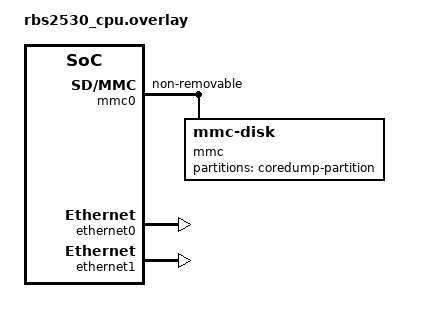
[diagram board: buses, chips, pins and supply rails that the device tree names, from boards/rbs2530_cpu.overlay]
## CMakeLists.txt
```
#
# Copyright (c) 2026 SYSTech Co.
# SPDX-License-Identifier: Apache-2.0
#

cmake_minimum_required(VERSION 3.20.0)
find_package(Zephyr REQUIRED HINTS $ENV{ZEPHYR_BASE})
project(coredump_test)

target_sources(app PRIVATE src/main.c)
```

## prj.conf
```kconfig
#
# Copyright (c) 2026 SYSTech Co.
# SPDX-License-Identifier: Apache-2.0
#
# Configuration for Coredump with eMMC backend and network transfer
# Board-specific configurations should be in boards/<board>.conf

# ==============================================================================
# Kernel Configuration
# ==============================================================================
CONFIG_MAIN_STACK_SIZE=8192
CONFIG_SYSTEM_WORKQUEUE_STACK_SIZE=8192
CONFIG_HEAP_MEM_POOL_SIZE=262144

# Kernel features
CONFIG_POSIX_API=y
CONFIG_ENTROPY_GENERATOR=y
CONFIG_TEST_RANDOM_GENERATOR=y
CONFIG_INIT_STACKS=y

# ==============================================================================
# Coredump Configuration
# ==============================================================================
CONFIG_DEBUG_COREDUMP=y
CONFIG_DEBUG_COREDUMP_MEMORY_DUMP_LINKER_RAM=y
CONFIG_DEBUG_COREDUMP_THREADS_METADATA=y
CONFIG_DEBUG_COREDUMP_SHELL=y

# Coredump backend: eMMC storage
CONFIG_DEBUG_COREDUMP_BACKEND_EMMC=y
CONFIG_DEBUG_COREDUMP_EMMC_CHUNK_SIZE=512
CONFIG_DEBUG_COREDUMP_EMMC_DEVICE_NAME="MMC"

# Alternative memory dump modes (disabled)
# CONFIG_DEBUG_COREDUMP_MEMORY_DUMP_MIN=y
# CONFIG_DEBUG_COREDUMP_MEMORY_DUMP_THREADS=y

# ==============================================================================
# Storage Configuration
# ==============================================================================
# eMMC/Disk support
CONFIG_DISK_ACCESS=y
CONFIG_DISK_DRIVER_MMC=y
CONFIG_MMC_STACK=y
CONFIG_MMC_VOLUME_NAME="MMC"

# Disk Tools - For coredump transfer and diagnostics
CONFIG_DISK_TOOLS=y
CONFIG_DISK_TOOLS_BUFFER_SIZE=16384
CONFIG_DISK_TOOLS_NETWORK=y
CONFIG_DISK_TOOLS_NET_PORT=9999
CONFIG_DISK_TOOLS_NET_STACK_SIZE=4096
CONFIG_DISK_TOOLS_NET_THREAD_PRIORITY=5
CONFIG_DISK_TOOLS_NET_TIMEOUT_MS=30000

# ==============================================================================
# Logging Configuration
# ==============================================================================
CONFIG_LOG=y
CONFIG_LOG_MODE_IMMEDIATE=y
CONFIG_LOG_DEFAULT_LEVEL=3
CONFIG_LOG_BACKEND_SHOW_COLOR=n
CONFIG_PRINTK=y

# Network logging
CONFIG_NET_LOG=y
CONFIG_NET_STATISTICS=y

# Network debug logging (commented out by default for performance)
# CONFIG_NET_SOCKETS_LOG_LEVEL_DBG=y
# CONFIG_NET_CONN_LOG_LEVEL_DBG=y
# CONFIG_NET_CONTEXT_LOG_LEVEL_DBG=y
# CONFIG_NET_TCP_LOG_LEVEL_DBG=y
# CONFIG_NET_IF_LOG_LEVEL_DBG=y
# CONFIG_NET_L2_ETHERNET_LOG_LEVEL_DBG=y
# CONFIG_ETHERNET_LOG_LEVEL_DBG=y
# CONFIG_NET_PKT_LOG_LEVEL_DBG=y
# CONFIG_NET_BUF_LOG=y
# CONFIG_NET_BUF_LOG_LEVEL_DBG=y

# ==============================================================================
# Shell Configuration
# ==============================================================================
CONFIG_SHELL=y
CONFIG_SHELL_BACKEND_SERIAL=y
CONFIG_NET_SHELL=y

# ==============================================================================
# Networking Configuration
# ==============================================================================
# Core networking
CONFIG_NETWORKING=y
CONFIG_NET_TCP=y
CONFIG_NET_UDP=y
CONFIG_NET_IPV4=y
CONFIG_NET_IPV6=y
CONFIG_NET_SOCKETS=y
CONFIG_NET_CONNECTION_MANAGER=y

# Network buffers (basic configuration, can be overridden in board config)
CONFIG_NET_PKT_RX_COUNT=16
CONFIG_NET_PKT_TX_COUNT=16
CONFIG_NET_BUF_RX_COUNT=80
CONFIG_NET_BUF_TX_COUNT=80
CONFIG_NET_BUF_DATA_SIZE=1536
CONFIG_NET_CONTEXT_NET_PKT_POOL=y

# IP configuration
CONFIG_NET_IF_UNICAST_IPV6_ADDR_COUNT=3
CONFIG_NET_IF_MCAST_IPV6_ADDR_COUNT=4
CONFIG_NET_IF_MAX_IPV4_COUNT=3
CONFIG_NET_IF_MAX_IPV6_COUNT=3
CONFIG_NET_MAX_CONTEXTS=10

# ==============================================================================
# Ethernet and Link Layer
# ==============================================================================
CONFIG_NET_L2_ETHERNET=y
CONFIG_NET_L2_ETHERNET_MGMT=y
CONFIG_NET_ICMPV4_ACCEPT_BROADCAST=y

# ==============================================================================
# TCP/IP Stack Configuration
# ==============================================================================
# TCP optimization for large transfers
CONFIG_NET_TCP_MAX_RECV_WINDOW_SIZE=65535
CONFIG_NET_TCP_MAX_SEND_WINDOW_SIZE=65535
CONFIG_NET_TCP_WORKQ_STACK_SIZE=4096

# ==============================================================================
# Socket Service Configuration
# ==============================================================================
# Socket service handles poll events for disk_tools and zperf
CONFIG_NET_SOCKETS_SERVICE=y
CONFIG_NET_SOCKETS_SERVICE_STACK_SIZE=4096
CONFIG_NET_SOCKETS_SERVICE_THREAD_PRIO=40
CONFIG_NET_SOCKETS_POLL_MAX=128

# ==============================================================================
# Network Performance Tools
# ==============================================================================
# zperf - Network throughput testing
CONFIG_NET_ZPERF=y
CONFIG_NET_ZPERF_MAX_PACKET_SIZE=2048
CONFIG_ZPERF_WORK_Q_STACK_SIZE=4096
```

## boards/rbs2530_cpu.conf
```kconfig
#
# Copyright (c) 2026 SYSTech Co.
# SPDX-License-Identifier: Apache-2.0
#
# Board-specific configuration for RBS2530_CPU
# This file contains board-specific optimizations and hardware configurations

# ==============================================================================
# Board-Specific Kernel Configuration
# ==============================================================================
CONFIG_SYSTEM_WORKQUEUE_PRIORITY=2
CONFIG_NUM_PREEMPT_PRIORITIES=16
CONFIG_MAX_THREAD_BYTES=3

# ==============================================================================
# Ethernet Driver Configuration (Board-Specific)
# ==============================================================================
# FMQL Ethernet controller
CONFIG_ETH_FMQL=y
CONFIG_MDIO=y

# Initialization priorities for this board
CONFIG_SERIAL_INIT_PRIORITY=50
CONFIG_ETH_INIT_PRIORITY=80

# ==============================================================================
# Memory Configuration (Board/Architecture-Specific)
# ==============================================================================
# Non-cacheable memory region for DMA
CONFIG_NOCACHE_MEMORY=y

# ==============================================================================
# Network Buffer Optimization (Board Memory-Specific)
# ==============================================================================
# High-throughput configuration optimized for RBS2530_EC memory layout
# These override the defaults in prj_emmc.conf
CONFIG_NET_PKT_RX_COUNT=512
CONFIG_NET_PKT_TX_COUNT=64
CONFIG_NET_BUF_RX_COUNT=800
CONFIG_NET_BUF_TX_COUNT=800

# ==============================================================================
# Network Address Configuration (Board/Test Environment-Specific)
# ==============================================================================
# Network addresses for this board/test setup
# For linux<->board connectivity, swap addresses if needed
CONFIG_NET_CONFIG_SETTINGS=y
CONFIG_NET_CONFIG_NEED_IPV4=y
CONFIG_NET_CONFIG_MY_IPV4_ADDR="192.0.2.2"
CONFIG_NET_CONFIG_PEER_IPV4_ADDR="192.0.2.1"
CONFIG_NET_CONFIG_NEED_IPV6=y
CONFIG_NET_CONFIG_MY_IPV6_ADDR="2001:db8::2"
CONFIG_NET_CONFIG_PEER_IPV6_ADDR="2001:db8::1"

# ==============================================================================
# Compiler Optimizations (Board/Debug-Specific)
# ==============================================================================
# Disabled for debugging on this board
# CONFIG_NO_OPTIMIZATIONS=y
# CONFIG_DEBUG_OPTIMIZATIONS=y
```

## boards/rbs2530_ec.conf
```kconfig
#
# Copyright (c) 2026 SYSTech Co.
# SPDX-License-Identifier: Apache-2.0
#
# Board-specific configuration for RBS2530_EC
# This file contains board-specific optimizations and hardware configurations

# ==============================================================================
# Board-Specific Kernel Configuration
# ==============================================================================
CONFIG_SYSTEM_WORKQUEUE_PRIORITY=2
CONFIG_NUM_PREEMPT_PRIORITIES=16

# ==============================================================================
# Ethernet Driver Configuration (Board-Specific)
# ==============================================================================
# FMQL Ethernet controller
CONFIG_ETH_FMQL=y
CONFIG_MDIO=y

# Initialization priorities for this board
CONFIG_SERIAL_INIT_PRIORITY=50
CONFIG_ETH_INIT_PRIORITY=80

# ==============================================================================
# Memory Configuration (Board/Architecture-Specific)
# ==============================================================================
# Non-cacheable memory region for DMA
CONFIG_NOCACHE_MEMORY=y

# ==============================================================================
# Network Buffer Optimization (Board Memory-Specific)
# ==============================================================================
# High-throughput configuration optimized for RBS2530_EC memory layout
# These override the defaults in prj_emmc.conf
CONFIG_NET_PKT_RX_COUNT=512
CONFIG_NET_PKT_TX_COUNT=64
CONFIG_NET_BUF_RX_COUNT=800
CONFIG_NET_BUF_TX_COUNT=800

# ==============================================================================
# Network Address Configuration (Board/Test Environment-Specific)
# ==============================================================================
# Network addresses for this board/test setup
# For linux<->board connectivity, swap addresses if needed
CONFIG_NET_CONFIG_SETTINGS=y
CONFIG_NET_CONFIG_NEED_IPV4=y
CONFIG_NET_CONFIG_MY_IPV4_ADDR="192.0.2.2"
CONFIG_NET_CONFIG_PEER_IPV4_ADDR="192.0.2.1"
CONFIG_NET_CONFIG_NEED_IPV6=y
CONFIG_NET_CONFIG_MY_IPV6_ADDR="2001:db8::2"
CONFIG_NET_CONFIG_PEER_IPV6_ADDR="2001:db8::1"

# ==============================================================================
# Compiler Optimizations (Board/Debug-Specific)
# ==============================================================================
# Disabled for debugging on this board
# CONFIG_NO_OPTIMIZATIONS=y
# CONFIG_DEBUG_OPTIMIZATIONS=y
```

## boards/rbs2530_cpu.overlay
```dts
/*
 * Copyright (c) 2026 SYSTech Co.
 * SPDX-License-Identifier: Apache-2.0
 */
#include <mem.h>

/*
 * Enable eMMC controller and define partitions
 */
&mmc0 {
	status = "okay";
	non-removable;

	mmc {
		compatible = "zephyr,mmc-disk";
		status = "okay";
		bus-width = <4>;
		disk-name = "MMC";

		partitions {
			compatible = "fixed-partitions";
			#address-cells = <1>;
			#size-cells = <1>;

			coredump_partition: partition@500000 {
				label = "coredump-partition";
				reg = <0x00500000 DT_SIZE_M(256)>;
			};
		};
	};
};

/*
 * Optional: Ethernet for network-based debugging
 */
&ethernet0 {
	status = "okay";
};

&ethernet1 {
	status = "okay";
};
```

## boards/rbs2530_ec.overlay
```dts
/*
 * Copyright (c) 2026 SYSTech Co.
 * SPDX-License-Identifier: Apache-2.0
 */
#include <mem.h>

/*
 * Enable eMMC controller and define partitions
 */
&mmc0 {
	status = "okay";
	non-removable;

	mmc {
		compatible = "zephyr,mmc-disk";
		status = "okay";
		bus-width = <4>;
		disk-name = "MMC";

		partitions {
			compatible = "fixed-partitions";
			#address-cells = <1>;
			#size-cells = <1>;
			coredump_partition: partition@500000 {
				label = "coredump-partition";
				reg = <0x00500000 DT_SIZE_M(256)>;
			};
		};
	};
};

/*
 * Optional: Ethernet for network-based debugging
 */
&ethernet0 {
	status = "okay";
};

&ethernet1 {
	status = "okay";
};

&gpio2 {
	status = "okay";
};

&spi0 {
	status = "okay";
};

&sf2507_u29 {
	status = "okay";
};

&sf2507_u28 {
	status = "okay";
};
```

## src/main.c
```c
/*
 * Copyright (c) 2026 SYSTech Co.
 * SPDX-License-Identifier: Apache-2.0
 */

#include <zephyr/kernel.h>
#include <zephyr/device.h>
#include <zephyr/logging/log.h>
#include <zephyr/debug/coredump.h>
#include <zephyr/shell/shell.h>
#include <string.h>
#include <stdlib.h>

LOG_MODULE_REGISTER(coredump_test, LOG_LEVEL_DBG);

/*
 * Example override for the coredump eMMC backend watchdog feed hook.
 * Replace printk with your actual watchdog feed call.
 *
 * Note: The coredump backend may call this frequently; do any throttling
 * (time-based, count-based, etc.) here.
 */
void coredump_watchdog_feed(void)
{
	static uint32_t last_ms;
	uint32_t now = k_uptime_get_32();

	if ((now - last_ms) < 500U) {
		return;
	}
	last_ms = now;
	LOG_INF("%s: watchdog feed.", __func__);
}

/* Test modes */
enum test_mode {
	TEST_MODE_NULL_POINTER,
	TEST_MODE_DIVIDE_BY_ZERO,
	TEST_MODE_UNALIGNED_ACCESS,
	TEST_MODE_STACK_OVERFLOW,
	TEST_MODE_INVALID_INSTRUCTION,
	TEST_MODE_MAX
};

/* Test mode names for shell command */
static const char *const test_mode_names[] = {
	"null", "divzero", "unaligned", "stackoverflow", "invalidinst",
};

/* Configuration - removed auto-trigger settings */

/**
 * @brief Trigger null pointer dereference fault
 */
static void trigger_null_pointer_fault(void)
{
	volatile uint32_t *null_ptr = NULL;

	LOG_ERR("Triggering NULL pointer dereference fault...");
	k_msleep(500);

	/* This will cause a data abort */
	*null_ptr = 0xDEADBEEF;

	/* Should never reach here */
	LOG_ERR("ERROR: Failed to trigger null pointer fault!");
}

/**
 * @brief Trigger divide by zero fault
 */
static void trigger_divide_by_zero_fault(void)
{
	volatile int divisor = 0;
	volatile int result;

	LOG_ERR("Triggering divide by zero fault...");
	k_msleep(500);

	/* This will cause an undefined instruction or data abort */
	result = 100 / divisor;

	/* Should never reach here */
	LOG_ERR("ERROR: Failed to trigger divide by zero fault! Result: %d", result);
}

/**
 * @brief Trigger unaligned memory access fault
 */
static void trigger_unaligned_access_fault(void)
{
	/* Create unaligned address */
	uint8_t buffer[8] __aligned(4);
	volatile uint32_t *unaligned_ptr = (uint32_t *)(buffer + 1);

	LOG_ERR("Triggering unaligned memory access fault...");
	k_msleep(500);

	/* This may cause an alignment fault on strict ARM systems */
	*unaligned_ptr = 0x12345678;

	/* Should never reach here */
	LOG_ERR("ERROR: Failed to trigger unaligned access fault!");
}

/**
 * @brief Recursive function to trigger stack overflow
 */
#pragma GCC diagnostic push
#pragma GCC diagnostic ignored "-Winfinite-recursion"
static void recursive_overflow(int depth)
{
	/* Create stack pressure with local buffer */
	volatile uint8_t stack_buffer[256];

	/* Use the buffer to prevent optimization */
	memset((void *)stack_buffer, depth & 0xFF, sizeof(stack_buffer));

	LOG_DBG("Recursion depth: %d", depth);

	/* Recurse infinitely */
	recursive_overflow(depth + 1);
}
#pragma GCC diagnostic pop

/**
 * @brief Trigger stack overflow fault
 */
static void trigger_stack_overflow_fault(void)
{
	LOG_ERR("Triggering stack overflow fault...");
	k_msleep(500);

	/* Start recursive calls */
	recursive_overflow(0);

	/* Should never reach here */
	LOG_ERR("ERROR: Failed to trigger stack overflow fault!");
}

/**
 * @brief Trigger invalid instruction fault via function pointer
 */
static void trigger_invalid_instruction_fault(void)
{
	/* Point to invalid memory region */
	void (*invalid_func)(void) = (void (*)(void))0xFFFFFFFF;

	LOG_ERR("Triggering invalid instruction fault...");
	k_msleep(500);

	/* This will cause a prefetch abort */
	invalid_func();

	/* Should never reach here */
	LOG_ERR("ERROR: Failed to trigger invalid instruction fault!");
}

/**
 * @brief Execute the selected test
 */
static void execute_test(enum test_mode mode)
{
	LOG_INF("========================================");
	LOG_INF("Triggering Coredump Test");
	LOG_INF("========================================");

	switch (mode) {
	case TEST_MODE_NULL_POINTER:
		LOG_INF("Test: NULL Pointer Dereference");
		k_msleep(100);
		trigger_null_pointer_fault();
		break;

	case TEST_MODE_DIVIDE_BY_ZERO:
		LOG_INF("Test: Divide by Zero");
		k_msleep(100);
		trigger_divide_by_zero_fault();
		break;

	case TEST_MODE_UNALIGNED_ACCESS:
		LOG_INF("Test: Unaligned Memory Access");
		k_msleep(100);
		trigger_unaligned_access_fault();
		break;

	case TEST_MODE_STACK_OVERFLOW:
		LOG_INF("Test: Stack Overflow");
		k_msleep(100);
		trigger_stack_overflow_fault();
		break;

	case TEST_MODE_INVALID_INSTRUCTION:
		LOG_INF("Test: Invalid Instruction");
		k_msleep(100);
		trigger_invalid_instruction_fault();
		break;

	default:
		LOG_ERR("Unknown test mode: %d", mode);
		break;
	}

	/* If we reach here, the fault was not triggered */
	LOG_ERR("========================================");
	LOG_ERR("Test completed without triggering fault!");
	LOG_ERR("Coredump may not be generated.");
	LOG_ERR("========================================");
}

#ifdef CONFIG_SHELL
/**
 * @brief Shell command to trigger coredump test
 */
static int cmd_coredump_test(const struct shell *sh, size_t argc, char **argv)
{
	enum test_mode mode = TEST_MODE_NULL_POINTER;

	if (argc > 1) {
		/* Parse test mode from argument */
		bool found = false;

		for (int i = 0; i < TEST_MODE_MAX; i++) {
			if (strcmp(argv[1], test_mode_names[i]) == 0) {
				mode = i;
				found = true;
				break;
			}
		}

		if (!found) {
			shell_error(sh, "Unknown test mode: %s", argv[1]);
			shell_print(sh, "Available modes:");
			shell_print(sh, "  null        - NULL pointer dereference");
			shell_print(sh, "  divzero     - Divide by zero");
			shell_print(sh, "  unaligned   - Unaligned memory access");
			shell_print(sh, "  stackoverflow - Stack overflow");
			shell_print(sh, "  invalidinst - Invalid instruction");
			return -EINVAL;
		}
	}

	shell_warn(sh, "!!! WARNING: System will crash in 2 seconds !!!");
	shell_warn(sh, "Triggering %s fault...", test_mode_names[mode]);
	k_msleep(2000);

	/* Execute the test - this will crash the system */
	execute_test(mode);

	/* Should never reach here */
	return 0;
}

/**
 * @brief Shell command to list available test modes
 */
static int cmd_coredump_test_list(const struct shell *sh, size_t argc, char **argv)
{
	shell_print(sh, "Available coredump test modes:");
	shell_print(sh, "");
	shell_print(sh, "  %-15s - %s", "null", "NULL pointer dereference (data abort)");
	shell_print(sh, "  %-15s - %s", "divzero", "Divide by zero");
	shell_print(sh, "  %-15s - %s", "unaligned", "Unaligned memory access");
	shell_print(sh, "  %-15s - %s", "stackoverflow", "Stack overflow");
	shell_print(sh, "  %-15s - %s", "invalidinst", "Invalid instruction (prefetch abort)");
	shell_print(sh, "");
	shell_print(sh, "Usage: coredump test <mode>");
	shell_print(sh, "Example: coredump test null");

	return 0;
}

SHELL_STATIC_SUBCMD_SET_CREATE(sub_coredump_test,
			       SHELL_CMD_ARG(list, NULL, "List available test modes",
					     cmd_coredump_test_list, 1, 0),
			       SHELL_SUBCMD_SET_END);

SHELL_CMD_ARG_REGISTER(coredump_test, &sub_coredump_test,
		       "Trigger coredump test [mode]\n"
		       "Modes: null, divzero, unaligned, stackoverflow, invalidinst\n"
		       "Use 'coredump_test list' to see all modes",
		       cmd_coredump_test, 1, 1);

#endif /* CONFIG_SHELL */

/**
 * @brief Main application entry point
 */
int main(void)
{
	LOG_INF("========================================");
	LOG_INF("Coredump Test Application");
	LOG_INF("========================================");

#ifdef CONFIG_SHELL
	LOG_INF("Shell enabled - Interactive mode");
	LOG_INF("Use 'coredump_test <mode>' to trigger a fault");
	LOG_INF("Use 'coredump_test list' to see available modes");
	LOG_INF("Example: coredump_test null");
#else
	LOG_WRN("Shell not enabled - No interactive testing available");
	LOG_WRN("Enable CONFIG_SHELL in prj.conf for interactive mode");
#endif

	LOG_INF("========================================");
	LOG_INF("System ready. Waiting for commands...");

	/* Main loop - just keep the system running */
	while (1) {
		k_sleep(K_FOREVER);
	}

	return 0;
}
```
